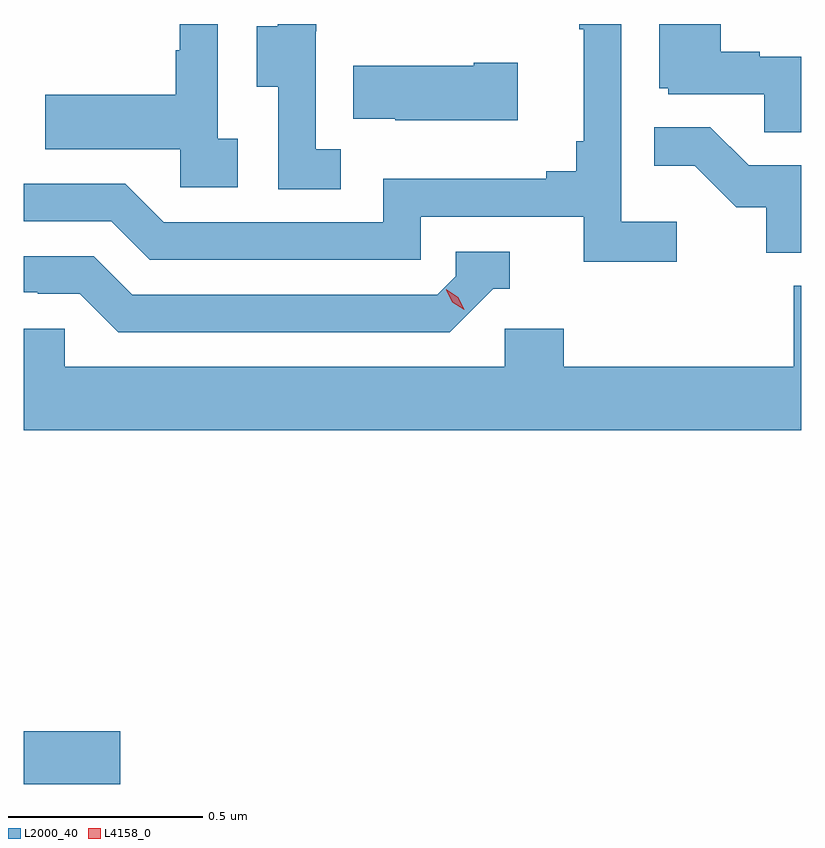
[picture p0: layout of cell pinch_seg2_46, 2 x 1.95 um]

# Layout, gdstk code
import gdstk
lib = gdstk.Library(unit=1e-6, precision=1e-09)
def R(c, l, rs):  # rectangles x0, y0, x1, y1
    for r in rs: c.add(gdstk.rectangle(r[:2], r[2:], *l))
def P(c, l, *ps):  # polygons
    for p in ps: c.add(gdstk.Polygon(p, *l))
L2000_40 = (2000, 40)
L4158_0 = (4158, 0)

pinch_seg2_46 = lib.new_cell('pinch_seg2_46')
R(pinch_seg2_46, L2000_40, [(1137.179,649.391,1137.427,649.526)])
P(pinch_seg2_46, L2000_40, [(1138.858,650.836),(1138.716,650.836),(1138.716,651.345),(1138.608,651.345),(1138.608,651.331),(1138.619,651.331),(1138.619,651.043),(1138.6,651.043),(1138.6,650.966),(1138.523,650.966),(1138.523,650.947),(1138.104,650.947),(1138.104,650.835),(1137.54,650.835),(1137.441,650.934),(1137.179,650.934),(1137.179,650.838),(1137.404,650.838),(1137.503,650.739),(1138.2,650.739),(1138.2,650.85),(1138.619,650.85),(1138.619,650.734),(1138.858,650.734)],
  [(1137.73,651.05),(1137.678,651.05),(1137.678,651.345),(1137.58,651.345),(1137.58,651.278),(1137.57,651.278),(1137.57,651.163),(1137.235,651.163),(1137.235,651.023),(1137.582,651.023),(1137.582,650.925),(1137.73,650.925)],
  [(1137.994,651.023),(1137.93,651.023),(1137.93,651.327),(1137.932,651.327),(1137.932,651.345),(1137.833,651.345),(1137.833,651.339),(1137.779,651.339),(1137.779,651.184),(1137.834,651.184),(1137.834,650.92),(1137.994,650.92)],
  [(1139.178,651.261),(1139.072,651.261),(1139.072,651.274),(1138.972,651.274),(1138.972,651.345),(1138.814,651.345),(1138.814,651.18),(1138.836,651.18),(1138.836,651.165),(1139.083,651.165),(1139.083,651.067),(1139.178,651.067)],
  [(1138.45,651.246),(1138.337,651.246),(1138.337,651.238),(1138.027,651.238),(1138.027,651.101),(1138.135,651.101),(1138.135,651.098),(1138.45,651.098)],
  [(1139.179,650.982),(1139.043,650.982),(1138.945,651.08),(1138.801,651.08),(1138.801,650.981),(1138.905,650.981),(1139.012,650.874),(1139.089,650.874),(1139.089,650.757),(1139.179,650.757)],
  [(1138.386,650.664),(1138.429,650.664),(1138.429,650.76),(1138.29,650.76),(1138.29,650.697),(1138.242,650.649),(1137.459,650.649),(1137.36,650.748),(1137.179,650.748),(1137.179,650.655),(1137.216,650.655),(1137.216,650.652),(1137.323,650.652),(1137.422,650.553),(1138.275,650.553)],
  [(1139.179,650.672),(1139.159,650.672),(1139.159,650.464),(1138.568,650.464),(1138.568,650.562),(1138.416,650.562),(1138.416,650.464),(1137.285,650.464),(1137.285,650.562),(1137.179,650.562),(1137.179,650.3),(1139.179,650.3)])
P(pinch_seg2_46, L4158_0, [(1138.312,650.61),(1138.281,650.63),(1138.266,650.662),(1138.266,650.663),(1138.266,650.663),(1138.296,650.643),(1138.312,650.61),(1138.312,650.61)])

lib.write_gds('pinch_seg2_46.gds')
